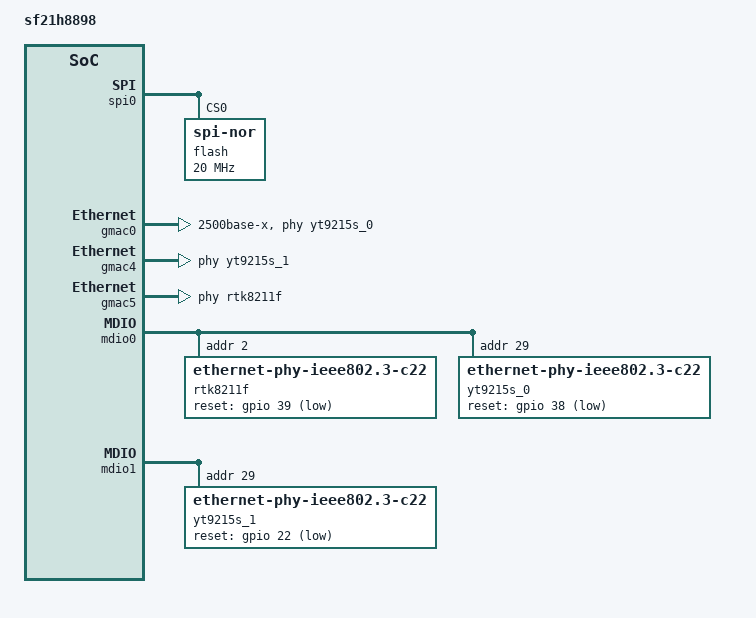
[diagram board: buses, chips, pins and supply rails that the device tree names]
// SPDX-License-Identifier: GPL-2.0

/dts-v1/;
#include "sf21h8898_fullmask.dtsi"

/ {
	model = "sf21h8898";
	compatible = "siflower,sf21h8898";

	chosen {
		stdout-path = &uart1;
		tick-timer = &timer0;
	};

};

&uart1 {
	u-boot,dm-pre-reloc;
};

&watchdog {
	u-boot,dm-pre-reloc;
};

&timer0 {
	u-boot,dm-pre-reloc;
};

&spi0 {
	status = "okay";

	flash@0 {
		compatible = "jedec,spi-nor";
		reg = <0>;
		spi-max-frequency = <20000000>;
		spi-tx-bus-width = <4>;
		spi-rx-bus-width = <4>;
		#address-cells = <1>;
		#size-cells = <1>;
	};
};

&gmac0 {
	status = "okay";
	local-mac-address = [10 23 45 67 89 ab];
	phy-mode = "2500base-x";
	phy-handle = <&yt9215s_0>;
};

&gmac4 {
	status = "okay";
	local-mac-address = [10 23 45 67 89 ab];
	phy-handle = <&yt9215s_1>;
};

&gmac5 {
	status = "okay";
	local-mac-address = [10 23 45 67 89 ab];
	tx-internal-delay-ps = <6762>;
	rx-internal-delay-ps = <1960>;
	phy-handle = <&rtk8211f>;
};

&mdio0 {
	rtk8211f: ethernet-phy@2 {
		compatible = "ethernet-phy-ieee802.3-c22";
		reg = <0x2>;
		reset-gpios = <&gpio 39 GPIO_ACTIVE_LOW>;
		reset-assert-us = <10000>;
		reset-deassert-us = <100000>;
	};

	yt9215s_0: yt9215s {
		compatible = "ethernet-phy-ieee802.3-c22";
		reg = <0x1d>;
		reset-gpios = <&gpio 38 GPIO_ACTIVE_LOW>;
		reset-assert-us = <10000>;
		reset-deassert-us = <100000>;
	};
};

&mdio1 {
	yt9215s_1: yt9215s {
		compatible = "ethernet-phy-ieee802.3-c22";
		reg = <0x1d>;
		reset-gpios = <&gpio 22 GPIO_ACTIVE_LOW>;
		reset-assert-us = <10000>;
		reset-deassert-us = <100000>;
	};
};

&xpcs0 {
	mode = <0x2>;
	enable;
};

&xpcs1 {
	enable;
};
